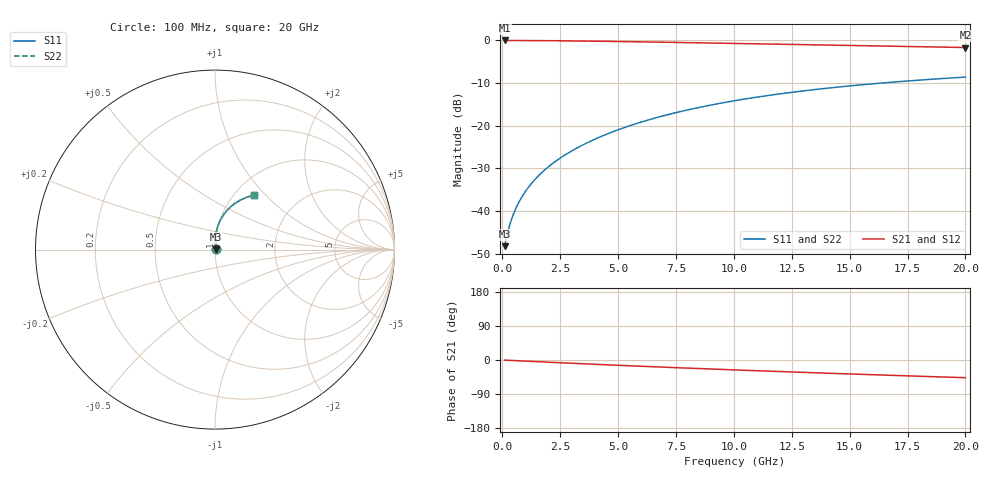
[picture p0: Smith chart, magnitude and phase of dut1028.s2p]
! Touchstone file exported from HFSS 2024.1.0
!  File:  C:/UserFiles/LocalFiles/RDL_TSV_Batchsim/temp_RDL_top_1028_1780043522.aedt
!  Generated:  04:34:45 PM May 29, 2026
!  Design:  RDL_top
!  Project:  temp_RDL_top_1028_1780043522
!  Setup:  Setup1
!  Solution:  Sweep
! Variables:
!  dtsv = 10.80580581um
!  hbump = 3um
!  htsv = 89.73um
!  ldown = 100um
!  lrdl = 662.13um
!  p = 40
!  p1 = 56.3um
!  rhole = 1um
!  t = 450um
!  tdown = 3.915915916um
!  trdl = 2.71um
!  wdown = 15.38538539um
!  wrdl = 28.13um
# GHz S MA R 50.000000
! Terminal data exported
! Port[1] = Box2_T1
! Port[2] = Box2_T2
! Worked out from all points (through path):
!   200 points, 100 MHz to 20 GHz, reference 50 ohm
!   highest |S21| = -0.03 dB at 100 MHz (marker M1); lowest = -1.7 dB at 20 GHz (marker M2)
!   group delay of S21, straight-line fit = 6.41 ps
!   lowest |S11| = -48.3 dB at 100 MHz (marker M3), VSWR 1.01, Z = 50.3 + j0.19 ohm
!   |S11| at or under -10 dB: start of sweep to 16.41 GHz
!   |S22| runs from -48.3 to -8.6 dB; largest |S21 - S12| = 7.2e-15
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0.1  0.003865 29.1  0.9966 -0.3  0.9966 -0.3  0.003865 29.1
! Gamma 0 0 0 0
! Port Impedance 50 0 50 0
0.2  0.005108 46.1  0.9964 -0.6  0.9964 -0.6  0.005108 46.1
0.3  0.00654 55.2  0.9961 -0.9  0.9961 -0.9  0.00654 55.2
0.4  0.007999 60.9  0.9959 -1.2  0.9959 -1.2  0.007999 60.9
0.5  0.00946 64.9  0.9956 -1.5  0.9956 -1.5  0.00946 64.9
0.6  0.01093 68.0  0.9954 -1.8  0.9954 -1.8  0.01093 68.0
0.8  0.0139 72.6  0.9949 -2.4  0.9949 -2.4  0.0139 72.6
1  0.01695 75.7  0.9943 -2.9  0.9943 -2.9  0.01695 75.8
1.2  0.02006 78.1  0.9937 -3.5  0.9937 -3.5  0.02006 78.1
1.7  0.02809 81.9  0.9919 -4.9  0.9919 -4.9  0.02809 81.9
2.2  0.03647 84.1  0.9895 -6.4  0.9895 -6.4  0.03647 84.1
2.8  0.04697 85.6  0.986 -8.1  0.986 -8.1  0.04699 85.6
3.5  0.05984 86.4  0.9812 -10.0  0.9812 -10.0  0.05986 86.4
4.2  0.07331 86.5  0.9758 -11.9  0.9758 -11.9  0.07335 86.5
5  0.08936 86.0  0.9689 -14.0  0.9689 -14.0  0.08942 86.1
6.8  0.1271 83.5  0.952 -18.5  0.952 -18.5  0.1272 83.5
8.4  0.1614 80.2  0.9362 -22.4  0.9362 -22.4  0.1616 80.3
10.1  0.1974 76.4  0.9192 -26.3  0.9192 -26.3  0.1976 76.5
11.7  0.23 72.7  0.9032 -29.9  0.9032 -29.9  0.2303 72.7
13.4  0.263 68.7  0.8864 -33.5  0.8864 -33.5  0.2633 68.8
16.7  0.321 61.3  0.8543 -40.3  0.8543 -40.3  0.3215 61.4
20  0.3708 54.4  0.8236 -46.7  0.8236 -46.7  0.3713 54.5
